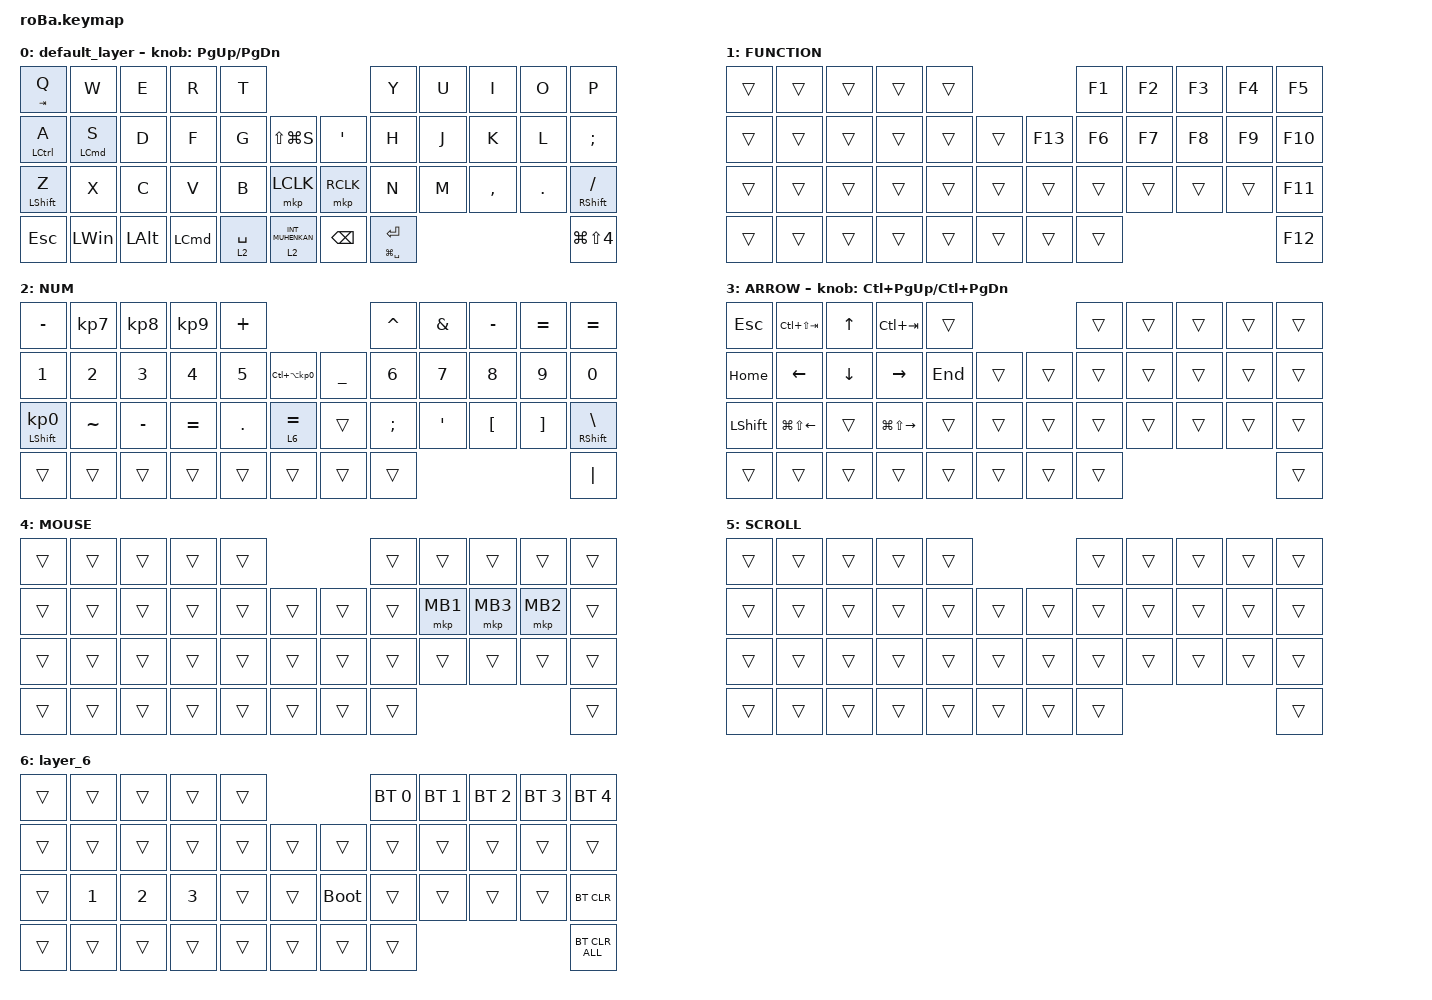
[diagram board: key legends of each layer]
#include <behaviors.dtsi>
#include <dt-bindings/zmk/bt.h>
#include <dt-bindings/zmk/keys.h>
#include <dt-bindings/zmk/pointing.h>

&mt {
    flavor = "balanced";
    quick-tap-ms = <175>;
};

&trackball {
    automouse-layer = <4>;
    scroll-layers = <5>;

    // arrows {
    //     layers = <3>;
    //     bindings =
    //         <&kp RIGHT_ARROW>,
    //         <&kp LEFT_ARROW>,
    //         <&kp UP_ARROW>,
    //         <&kp DOWN_ARROW>;
    //     tick = <10>;
    //     wait-ms = <5>;
    //     tap-ms = <5>;
    // };
};

/ {
    combos {
        compatible = "zmk,combos";

        tab {
            bindings = <&kp TAB>;
            key-positions = <11 12>;
        };

        shift_tab {
            bindings = <&kp LS(TAB)>;
            key-positions = <12 13>;
        };

        muhennkann {
            bindings = <&to_layer_0 INT_MUHENKAN>;
            key-positions = <11 10>;
        };

        double_quotation {
            bindings = <&kp DOUBLE_QUOTES>;
            key-positions = <20 21>;
        };

        eq {
            bindings = <&kp EQUAL>;
            key-positions = <24 25>;
        };
    };

    macros {
        to_layer_0: to_layer_0 {
            compatible = "zmk,behavior-macro-one-param";
            #binding-cells = <1>;
            bindings = <&to 0 &macro_param_1to1 &kp MACRO_PLACEHOLDER>;
            label = "TO_LAYER_0";
        };
    };

    behaviors {
        lt_to_layer_0: lt_to_layer_0 {
            compatible = "zmk,behavior-hold-tap";
            label = "LAYER_TAP_TO_0";
            bindings = <&mo>, <&to_layer_0>;

            #binding-cells = <2>;
            tapping-term-ms = <200>;
        };
    };

    keymap {
        compatible = "zmk,keymap";

        default_layer {
            bindings = <
&mt TAB Q         &kp W               &kp E         &kp R             &kp T                                               &kp Y                &kp U  &kp I      &kp O    &kp P
&mt LCTRL A       &mt LEFT_COMMAND S  &kp D         &kp F             &kp G        &kp LS(LG(S))           &kp SQT        &kp H                &kp J  &kp K      &kp L    &kp SEMICOLON
&mt LEFT_SHIFT Z  &kp X               &kp C         &kp V             &kp B        &mkp LCLK               &mkp RCLK      &kp N                &kp M  &kp COMMA  &kp DOT  &mt RSHIFT SLASH
&kp ESCAPE        &kp LEFT_WIN        &kp LEFT_ALT  &kp LEFT_COMMAND  &lt 2 SPACE  &lt 2 INT_MUHENKAN      &kp BACKSPACE  &mt LG(SPACE) ENTER                             &kp LG(LS(NUMBER_4))
            >;

            sensor-bindings = <&inc_dec_kp PG_UP PAGE_DOWN>;
        };

        FUNCTION {
            bindings = <
&trans  &trans  &trans  &trans  &trans                       &kp F1  &kp F2  &kp F3  &kp F4  &kp F5
&trans  &trans  &trans  &trans  &trans  &trans      &kp F13  &kp F6  &kp F7  &kp F8  &kp F9  &kp F10
&trans  &trans  &trans  &trans  &trans  &trans      &trans   &trans  &trans  &trans  &trans  &kp F11
&trans  &trans  &trans  &trans  &trans  &trans      &trans   &trans                          &kp F12
            >;
        };

        NUM {
            bindings = <
&kp MINUS                   &kp KP_NUMBER_7  &kp KP_NUMBER_8  &kp KP_NUMBER_9  &kp PLUS                                                   &kp CARET      &kp AMPERSAND     &kp MINUS         &kp EQUAL          &kp EQUAL
&kp NUMBER_1                &kp NUMBER_2     &kp NUMBER_3     &kp NUMBER_4     &kp NUMBER_5  &kp LC(LA(KP_NUMBER_0))      &kp UNDERSCORE  &kp NUMBER_6   &kp NUMBER_7      &kp NUMBER_8      &kp NUMBER_9       &kp NUMBER_0
&mt LEFT_SHIFT KP_NUMBER_0  &kp TILDE        &kp MINUS        &kp EQUAL        &kp PERIOD    &lt 6 EQUAL                  &trans          &kp SEMICOLON  &kp SINGLE_QUOTE  &kp LEFT_BRACKET  &kp RIGHT_BRACKET  &mt RIGHT_SHIFT BACKSLASH
&trans                      &trans           &trans           &trans           &trans        &trans                       &trans          &trans                                                                &kp PIPE
            >;
        };

        ARROW {
            bindings = <
&kp ESCAPE      &kp LC(LS(TAB))         &kp UP_ARROW    &kp LC(TAB)              &trans                       &trans  &trans  &trans  &trans  &trans
&kp HOME        &kp LEFT_ARROW          &kp DOWN_ARROW  &kp RIGHT_ARROW          &kp END  &trans      &trans  &trans  &trans  &trans  &trans  &trans
&kp LEFT_SHIFT  &kp LG(LS(LEFT_ARROW))  &trans          &kp LG(LS(RIGHT_ARROW))  &trans   &trans      &trans  &trans  &trans  &trans  &trans  &trans
&trans          &trans                  &trans          &trans                   &trans   &trans      &trans  &trans                          &trans
            >;

            sensor-bindings = <&inc_dec_kp LC(PAGE_UP) LC(PAGE_DOWN)>;
        };

        MOUSE {
            bindings = <
&trans  &trans  &trans  &trans  &trans                      &trans  &trans    &trans    &trans    &trans
&trans  &trans  &trans  &trans  &trans  &trans      &trans  &trans  &mkp MB1  &mkp MB3  &mkp MB2  &trans
&trans  &trans  &trans  &trans  &trans  &trans      &trans  &trans  &trans    &trans    &trans    &trans
&trans  &trans  &trans  &trans  &trans  &trans      &trans  &trans                                &trans
            >;
        };

        SCROLL {
            bindings = <
&trans  &trans  &trans  &trans  &trans                      &trans  &trans  &trans  &trans  &trans
&trans  &trans  &trans  &trans  &trans  &trans      &trans  &trans  &trans  &trans  &trans  &trans
&trans  &trans  &trans  &trans  &trans  &trans      &trans  &trans  &trans  &trans  &trans  &trans
&trans  &trans  &trans  &trans  &trans  &trans      &trans  &trans                          &trans
            >;
        };

        layer_6 {
            bindings = <
&trans  &trans        &trans        &trans        &trans                           &bt BT_SEL 0  &bt BT_SEL 1  &bt BT_SEL 2  &bt BT_SEL 3  &bt BT_SEL 4
&trans  &trans        &trans        &trans        &trans  &trans      &trans       &trans        &trans        &trans        &trans        &trans
&trans  &kp NUMBER_1  &kp NUMBER_2  &kp NUMBER_3  &trans  &trans      &bootloader  &trans        &trans        &trans        &trans        &bt BT_CLR
&trans  &trans        &trans        &trans        &trans  &trans      &trans       &trans                                                  &bt BT_CLR_ALL
            >;
        };
    };
};
